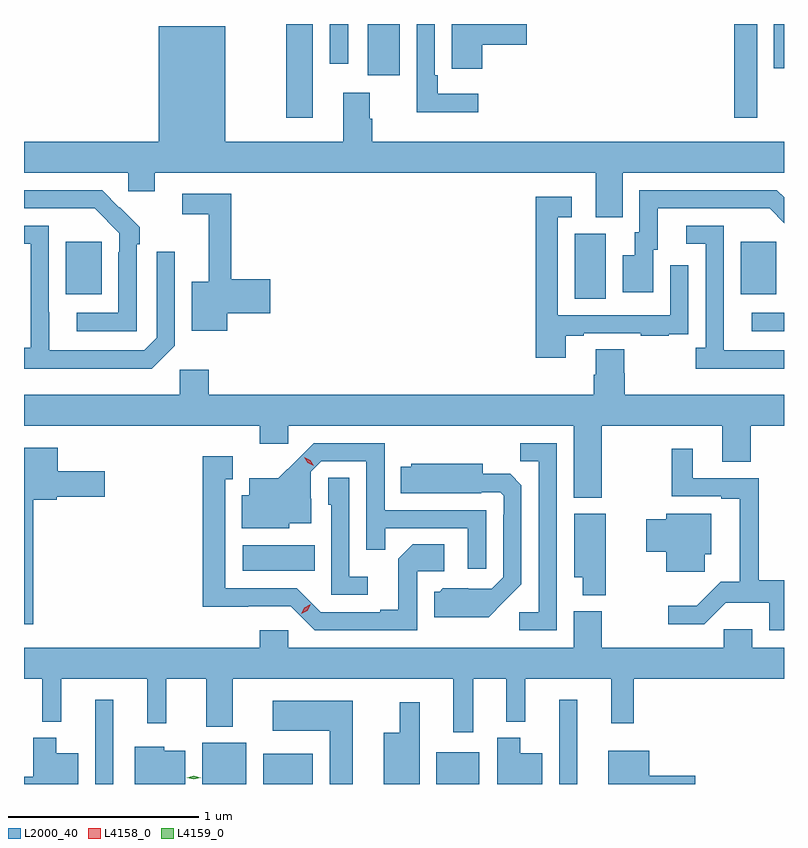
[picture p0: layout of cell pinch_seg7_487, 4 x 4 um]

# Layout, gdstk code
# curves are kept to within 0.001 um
import gdstk
lib = gdstk.Library(unit=1e-6, precision=1e-09)
def R(c, l, rs):  # rectangles x0, y0, x1, y1
    for r in rs: c.add(gdstk.rectangle(r[:2], r[2:], *l))
def P(c, l, *ps):  # polygons
    for p in ps: c.add(gdstk.Polygon(p, *l))
L2000_40 = (2000, 40)
L4158_0 = (4158, 0)
L4159_0 = (4159, 0)

pinch_seg7_487 = lib.new_cell('pinch_seg7_487')
R(pinch_seg7_487, L2000_40, [(202.977,1071.991,203.073,1072.435), (203.54,1071.991,203.773,1072.207), (203.861,1071.991,204.124,1072.15), (204.773,1071.991,205,1072.159), (205.419,1071.991,205.516,1072.435), (203.754,1073.114,204.134,1073.248), (206.433,1074.375,206.603,1074.471), (205.502,1074.544,205.666,1074.888), (202.823,1074.569,203.011,1074.844), (206.375,1074.569,206.563,1074.844), (203.983,1075.497,204.124,1075.991), (206.34,1075.497,206.461,1075.991), (204.413,1075.722,204.58,1075.991), (206.549,1075.757,206.603,1075.991), (204.213,1075.782,204.309,1075.991)])
P(pinch_seg7_487, L2000_40, [(205.016,1075.883),(205.249,1075.883),(205.249,1075.991),(204.854,1075.991),(204.854,1075.867),(204.855,1075.867),(204.855,1075.755),(205.016,1075.755)],
  [(204.994,1075.624),(204.781,1075.624),(204.781,1075.72),(204.765,1075.72),(204.765,1075.991),(204.669,1075.991),(204.669,1075.526),(204.994,1075.526)],
  [(205.753,1075.208),(206.603,1075.208),(206.603,1075.372),(204.437,1075.372),(204.437,1075.493),(204.424,1075.493),(204.424,1075.63),(204.284,1075.63),(204.284,1075.372),(203.662,1075.372),(203.662,1075.978),(203.312,1075.978),(203.312,1075.372),(202.603,1075.372),(202.603,1075.208),(203.151,1075.208),(203.151,1075.11),(203.29,1075.11),(203.29,1075.208),(205.613,1075.208),(205.613,1074.973),(205.753,1074.973)],
  [(203.196,1074.833),(203.211,1074.833),(203.211,1074.921),(203.014,1075.116),(202.603,1075.116),(202.603,1075.02),(202.975,1075.02),(203.103,1074.891),(203.103,1074.791),(203.1,1074.791),(203.1,1074.471),(202.881,1074.471),(202.881,1074.375),(203.196,1074.375)],
  [(205.915,1074.804),(205.939,1074.804),(205.939,1075.02),(206.527,1075.02),(206.603,1074.943),(206.603,1075.079),(206.566,1075.116),(205.842,1075.116),(205.842,1074.894),(205.817,1074.894),(205.817,1074.775),(205.754,1074.775),(205.754,1074.579),(205.915,1074.579)],
  [(203.674,1074.469),(203.899,1074.469),(203.899,1074.647),(203.693,1074.647),(203.693,1075.098),(203.436,1075.098),(203.436,1074.99),(203.576,1074.99),(203.576,1074.634),(203.486,1074.634),(203.486,1074.377),(203.674,1074.377)],
  [(205.453,1074.351),(205.549,1074.351),(205.549,1074.363),(205.849,1074.363),(205.849,1074.351),(205.997,1074.351),(205.997,1074.357),(206.099,1074.357),(206.099,1074.466),(206.1,1074.466),(206.1,1074.721),(206.004,1074.721),(206.004,1074.459),(205.413,1074.459),(205.413,1074.975),(205.486,1074.975),(205.486,1075.081),(205.297,1075.081),(205.297,1074.234),(205.453,1074.234)],
  [(203.397,1074.297),(203.397,1074.793),(203.301,1074.793),(203.301,1074.339),(203.235,1074.273),(202.735,1074.273),(202.734,1074.93),(202.603,1074.93),(202.603,1074.834),(202.638,1074.834),(202.638,1074.286),(202.603,1074.286),(202.603,1074.176),(203.276,1074.176)],
  [(206.603,1074.273),(206.287,1074.273),(206.287,1074.473),(206.286,1074.473),(206.286,1074.93),(206.088,1074.93),(206.088,1074.834),(206.19,1074.834),(206.19,1074.286),(206.139,1074.286),(206.139,1074.176),(206.603,1074.176)],
  [(205.644,1073.876),(206.279,1073.876),(206.279,1073.686),(206.427,1073.686),(206.427,1073.876),(206.603,1073.876),(206.603,1074.04),(205.766,1074.04),(205.766,1074.153),(205.761,1074.153),(205.761,1074.278),(205.613,1074.278),(205.613,1074.146),(205.601,1074.146),(205.601,1074.04),(203.576,1074.04),(203.576,1074.172),(203.424,1074.172),(203.424,1074.04),(202.603,1074.04),(202.603,1073.876),(203.843,1073.876),(203.843,1073.781),(203.994,1073.781),(203.994,1073.876),(205.496,1073.876),(205.496,1073.498),(205.644,1073.498)],
  [(205.407,1073.784),(205.216,1073.784),(205.216,1073.689),(205.311,1073.689),(205.311,1072.896),(205.209,1072.896),(205.209,1072.8),(205.407,1072.8)],
  [(205.035,1073.433),(204.501,1073.433),(204.501,1073.784),(204.128,1073.784),(203.941,1073.599),(203.789,1073.599),(203.789,1073.512),(203.75,1073.512),(203.75,1073.336),(204,1073.336),(204,1073.363),(204.115,1073.363),(204.115,1073.492),(204.111,1073.492),(204.111,1073.634),(204.168,1073.691),(204.405,1073.691),(204.405,1073.224),(204.503,1073.224),(204.503,1073.337),(204.939,1073.337),(204.939,1073.124),(205.035,1073.124)],
  [(202.651,1073.486),(202.776,1073.486),(202.776,1073.504),(203.029,1073.504),(203.029,1073.638),(202.78,1073.638),(202.78,1073.761),(202.603,1073.761),(202.603,1072.833),(202.651,1072.833)],
  [(206.603,1073.063),(206.471,1073.063),(206.471,1073.601),(206.122,1073.601),(206.122,1073.755),(206.013,1073.755),(206.013,1073.505),(206.273,1073.505),(206.273,1073.493),(206.369,1073.493),(206.369,1073.056),(206.269,1073.056),(206.143,1072.93),(205.995,1072.93),(205.995,1072.833),(206.184,1072.833),(206.297,1072.946),(206.526,1072.946),(206.526,1072.8),(206.603,1072.8)],
  [(204.672,1073.112),(204.814,1073.112),(204.814,1073.252),(204.649,1073.252),(204.573,1073.176),(204.573,1072.909),(204.479,1072.909),(204.479,1072.896),(204.165,1072.896),(204.039,1073.022),(203.662,1073.022),(203.662,1073.595),(203.701,1073.595),(203.701,1073.716),(203.544,1073.716),(203.544,1072.925),(204.006,1072.926),(204.132,1072.8),(204.672,1072.8)],
  [(205.129,1072.949),(205.221,1073.042),(205.221,1073.564),(205.162,1073.623),(205.018,1073.623),(205.018,1073.677),(204.642,1073.677),(204.642,1073.662),(204.586,1073.662),(204.586,1073.522),(205.01,1073.522),(205.01,1073.526),(205.11,1073.526),(205.128,1073.508),(205.128,1073.408),(205.125,1073.408),(205.125,1073.079),(205.065,1073.019),(204.808,1073.02),(204.792,1073.004),(204.761,1073.004),(204.761,1072.868),(205.049,1072.868)],
  [(204.412,1073.083),(204.315,1073.083),(204.315,1073.603),(204.204,1073.603),(204.204,1073.46),(204.219,1073.46),(204.219,1072.986),(204.412,1072.986)],
  [(206.185,1073.201),(206.221,1073.201),(206.221,1073.413),(205.982,1073.413),(205.982,1073.384),(205.877,1073.384),(205.877,1073.213),(205.982,1073.213),(205.982,1073.108),(206.185,1073.108)],
  [(205.666,1073.413),(205.499,1073.413),(205.499,1073.078),(205.544,1073.078),(205.544,1072.985),(205.666,1072.985)],
  [(204.967,1072.544),(205.142,1072.544),(205.142,1072.319),(205.241,1072.319),(205.241,1072.544),(205.694,1072.544),(205.694,1072.311),(205.811,1072.311),(205.811,1072.544),(206.603,1072.544),(206.603,1072.708),(206.437,1072.708),(206.437,1072.806),(206.286,1072.806),(206.286,1072.708),(205.644,1072.708),(205.644,1072.9),(205.496,1072.9),(205.496,1072.708),(203.994,1072.708),(203.994,1072.801),(203.843,1072.801),(203.843,1072.708),(202.603,1072.708),(202.603,1072.544),(202.7,1072.544),(202.7,1072.319),(202.799,1072.319),(202.799,1072.544),(203.252,1072.544),(203.252,1072.311),(203.351,1072.311),(203.351,1072.544),(203.561,1072.544),(203.561,1072.292),(203.701,1072.292),(203.701,1072.544),(204.863,1072.544),(204.863,1072.263),(204.967,1072.263)],
  [(204.334,1072.429),(203.913,1072.429),(203.913,1072.271),(204.212,1072.271),(204.212,1071.991),(204.334,1071.991)],
  [(204.685,1072.42),(204.581,1072.42),(204.581,1072.261),(204.497,1072.261),(204.497,1071.991),(204.685,1071.991)],
  [(205.33,1072.153),(205.216,1072.153),(205.216,1072.234),(205.094,1072.234),(205.094,1071.991),(205.33,1071.991)],
  [(202.888,1072.153),(202.774,1072.153),(202.774,1072.234),(202.652,1072.234),(202.652,1072.028),(202.603,1072.028),(202.603,1071.991),(202.888,1071.991)],
  [(203.452,1072.165),(203.34,1072.165),(203.34,1072.186),(203.186,1072.186),(203.186,1071.991),(203.452,1071.991)],
  [(206.137,1072.034),(205.894,1072.034),(205.894,1072.165),(205.679,1072.165),(205.679,1071.991),(206.137,1071.991)])
P(pinch_seg7_487, L4158_0, [(204.127,1073.667),(204.096,1073.681),(204.078,1073.71),(204.078,1073.711),(204.079,1073.711),(204.11,1073.696),(204.127,1073.667),(204.127,1073.667)],
  [(204.061,1072.886),(204.061,1072.886),(204.079,1072.918),(204.111,1072.937),(204.111,1072.937),(204.111,1072.936),(204.093,1072.904),(204.061,1072.886)])
P(pinch_seg7_487, L4159_0, [(203.496,1072.015),(203.46,1072.025),(203.459,1072.025),(203.46,1072.025),(203.496,1072.035),(203.533,1072.025),(203.533,1072.025),(203.533,1072.025)])

lib.write_gds('pinch_seg7_487.gds')
